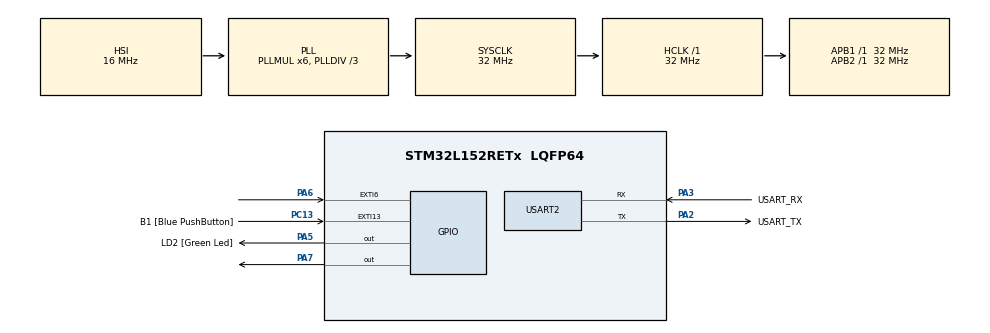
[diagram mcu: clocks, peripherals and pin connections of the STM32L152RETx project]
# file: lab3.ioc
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Mcu.Family=STM32L1
Mcu.Name=STM32L152RETx
Mcu.Package=LQFP64
NVIC.EXTI15_10_IRQn=true\:0\:0\:false\:false\:true\:true
NVIC.EXTI9_5_IRQn=true\:0\:0\:false\:false\:true\:true
NVIC.PriorityGroup=NVIC_PRIORITYGROUP_0
PA13.GPIO_Label=TMS
PA13.Mode=Serial_Wire
PA13.Signal=SYS_JTMS-SWDIO
PA14.GPIO_Label=TCK
PA14.Mode=Serial_Wire
PA14.Signal=SYS_JTCK-SWCLK
PA2.GPIO_Label=USART_TX
PA2.Mode=Asynchronous
PA2.Signal=USART2_TX
PA3.GPIO_Label=USART_RX
PA3.Mode=Asynchronous
PA3.Signal=USART2_RX
PA5.GPIO_Label=LD2 [Green Led]
PA5.Signal=GPIO_Output
PA6.GPIO_ModeDefaultEXTI=GPIO_MODE_IT_RISING_FALLING
PA6.Signal=GPXTI6
PA7.Signal=GPIO_Output
PB3.GPIO_Label=SWO
PB3.Signal=SYS_JTDO-TRACESWO
PC13-WKUP2.GPIO_Label=B1 [Blue PushButton]
PC13-WKUP2.GPIO_ModeDefaultEXTI=GPIO_MODE_IT_RISING_FALLING
PC13-WKUP2.Signal=GPXTI13
PC14-OSC32_IN.Mode=LSE-External-Oscillator
PC14-OSC32_IN.Signal=RCC_OSC32_IN
PC15-OSC32_OUT.Mode=LSE-External-Oscillator
PC15-OSC32_OUT.Signal=RCC_OSC32_OUT
PH0-OSC_IN.Mode=HSE-External-Clock-Source
PH0-OSC_IN.Signal=RCC_OSC_IN
PH1-OSC_OUT.Signal=RCC_OSC_OUT
ProjectManager.HeapSize=0x200
ProjectManager.StackSize=0x400
ProjectManager.TargetToolchain=TrueSTUDIO
RCC.48MHZClocksFreq_Value=48000000
RCC.AHBFreq_Value=32000000
RCC.APB1Freq_Value=32000000
RCC.APB1TimFreq_Value=32000000
RCC.APB2Freq_Value=32000000
RCC.APB2TimFreq_Value=32000000
RCC.HCLKFreq_Value=32000000
RCC.HSE_VALUE=8000000
RCC.HSI_VALUE=16000000
RCC.MSI_VALUE=2097000
RCC.PLLDIV=RCC_PLL_DIV3
RCC.PLLMUL=RCC_PLL_MUL6
RCC.RTCClockSelectionVirtual=RCC_RTCCLKSOURCE_LSE
RCC.SYSCLKFreq_VALUE=32000000
RCC.SYSCLKSource=RCC_SYSCLKSOURCE_PLLCLK
RCC.USBOutput=48000000
RCC.VCOOutputFreq_Value=96000000
TIM2.Period=65535
TIM2.Prescaler=64000
TIM5.Period=0xffff
TIM5.Prescaler=32
USART2.VirtualMode=VM_ASYNC
VP_TIM2_VS_ClockSourceINT.Mode=Internal
VP_TIM5_VS_ClockSourceINT.Mode=Internal
board=NUCLEO-L152RE

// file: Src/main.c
/**
 ******************************************************************************
 * @file           : main.c
 * @brief          : Main program body
 ******************************************************************************
 ** This notice applies to any and all portions of this file
 * that are not between comment pairs USER CODE BEGIN and
 * USER CODE END. Other portions of this file, whether
 * inserted by the user or by software development tools
 * are owned by their respective copyright owners.
 *
 * COPYRIGHT(c) 2018 STMicroelectronics
 *
 * Redistribution and use in source and binary forms, with or without modification,
 * are permitted provided that the following conditions are met:
 *   1. Redistributions of source code must retain the above copyright notice,
 *      this list of conditions and the following disclaimer.
 *   2. Redistributions in binary form must reproduce the above copyright notice,
 *      this list of conditions and the following disclaimer in the documentation
 *      and/or other materials provided with the distribution.
 *   3. Neither the name of STMicroelectronics nor the names of its contributors
 *      may be used to endorse or promote products derived from this software
 *      without specific prior written permission.
 *
 * THIS SOFTWARE IS PROVIDED BY THE COPYRIGHT HOLDERS AND CONTRIBUTORS "AS IS"
 * AND ANY EXPRESS OR IMPLIED WARRANTIES, INCLUDING, BUT NOT LIMITED TO, THE
 * IMPLIED WARRANTIES OF MERCHANTABILITY AND FITNESS FOR A PARTICULAR PURPOSE ARE
 * DISCLAIMED. IN NO EVENT SHALL THE COPYRIGHT HOLDER OR CONTRIBUTORS BE LIABLE
 * FOR ANY DIRECT, INDIRECT, INCIDENTAL, SPECIAL, EXEMPLARY, OR CONSEQUENTIAL
 * DAMAGES (INCLUDING, BUT NOT LIMITED TO, PROCUREMENT OF SUBSTITUTE GOODS OR
 * SERVICES; LOSS OF USE, DATA, OR PROFITS; OR BUSINESS INTERRUPTION) HOWEVER
 * CAUSED AND ON ANY THEORY OF LIABILITY, WHETHER IN CONTRACT, STRICT LIABILITY,
 * OR TORT (INCLUDING NEGLIGENCE OR OTHERWISE) ARISING IN ANY WAY OUT OF THE USE
 * OF THIS SOFTWARE, EVEN IF ADVISED OF THE POSSIBILITY OF SUCH DAMAGE.
 *
 ******************************************************************************
 */
#include "main.h"
#include "stm32l1xx_hal.h"
#include "stdio.h"
#include "string.h"
#include "math.h"

TIM_HandleTypeDef htim2;
TIM_HandleTypeDef htim5;

UART_HandleTypeDef huart2;

const uint32_t timeout = 1000;

extern uint32_t flag, ack;

/* USER CODE BEGIN PV */
/* Private variables ---------------------------------------------------------*/

/* USER CODE END PV */

void SystemClock_Config(void);
static void MX_GPIO_Init(void);
static void MX_USART2_UART_Init(void);
static void MX_TIM2_Init(void);
static void MX_TIM5_Init(void);
/* USER CODE BEGIN PFP */
/* Private function prototypes -----------------------------------------------*/

void delay_us(uint32_t);
void delay_ms(uint32_t);
/* USER CODE END PFP */

int main(void) {

	/* MCU Configuration----------------------------------------------------------*/

	/* Reset of all peripherals, Initializes the Flash interface and the Systick. */
	HAL_Init();

	/* Configure the system clock */
	SystemClock_Config();

	/* Initialize all configured peripherals */
	MX_GPIO_Init();
	MX_USART2_UART_Init();
	MX_TIM2_Init();
	MX_TIM5_Init();

	/* Infinite loop */
	/* USER CODE BEGIN WHILE */
	HAL_TIM_Base_Start(&htim2);
	HAL_TIM_Base_Start(&htim5);
	while (1) {
		flag = 1;
		ack = 1;
		HAL_GPIO_WritePin(GPIOA, GPIO_PIN_7, GPIO_PIN_SET);
		delay_us(10);
		HAL_GPIO_WritePin(GPIOA, GPIO_PIN_7, GPIO_PIN_RESET);
		while (ack) {
			delay_ms(timeout);
		}
		/* USER CODE END WHILE */

	}

}

void SystemClock_Config(void) {

	RCC_OscInitTypeDef RCC_OscInitStruct;
	RCC_ClkInitTypeDef RCC_ClkInitStruct;

	/**Configure the main internal regulator output voltage
	 */
	__HAL_PWR_VOLTAGESCALING_CONFIG(PWR_REGULATOR_VOLTAGE_SCALE1);

	/**Initializes the CPU, AHB and APB busses clocks
	 */
	RCC_OscInitStruct.OscillatorType = RCC_OSCILLATORTYPE_HSI;
	RCC_OscInitStruct.HSIState = RCC_HSI_ON;
	RCC_OscInitStruct.HSICalibrationValue = 16;
	RCC_OscInitStruct.PLL.PLLState = RCC_PLL_ON;
	RCC_OscInitStruct.PLL.PLLSource = RCC_PLLSOURCE_HSI;
	RCC_OscInitStruct.PLL.PLLMUL = RCC_PLL_MUL6;
	RCC_OscInitStruct.PLL.PLLDIV = RCC_PLL_DIV3;
	if (HAL_RCC_OscConfig(&RCC_OscInitStruct) != HAL_OK) {
		_Error_Handler(__FILE__, __LINE__);
	}

	/**Initializes the CPU, AHB and APB busses clocks
	 */
	RCC_ClkInitStruct.ClockType = RCC_CLOCKTYPE_HCLK | RCC_CLOCKTYPE_SYSCLK
			| RCC_CLOCKTYPE_PCLK1 | RCC_CLOCKTYPE_PCLK2;
	RCC_ClkInitStruct.SYSCLKSource = RCC_SYSCLKSOURCE_PLLCLK;
	RCC_ClkInitStruct.AHBCLKDivider = RCC_SYSCLK_DIV1;
	RCC_ClkInitStruct.APB1CLKDivider = RCC_HCLK_DIV1;
	RCC_ClkInitStruct.APB2CLKDivider = RCC_HCLK_DIV1;

	if (HAL_RCC_ClockConfig(&RCC_ClkInitStruct, FLASH_LATENCY_1) != HAL_OK) {
		_Error_Handler(__FILE__, __LINE__);
	}

	/**Configure the Systick interrupt time
	 */
	HAL_SYSTICK_Config(HAL_RCC_GetHCLKFreq() / 1000);

	/**Configure the Systick
	 */
	HAL_SYSTICK_CLKSourceConfig(SYSTICK_CLKSOURCE_HCLK);

	/* SysTick_IRQn interrupt configuration */
	HAL_NVIC_SetPriority(SysTick_IRQn, 0, 0);
}

/* TIM2 init function */
static void MX_TIM2_Init(void) {

	TIM_ClockConfigTypeDef sClockSourceConfig;
	TIM_MasterConfigTypeDef sMasterConfig;

	htim2.Instance = TIM2;
	htim2.Init.Prescaler = 64000;
	htim2.Init.CounterMode = TIM_COUNTERMODE_UP;
	htim2.Init.Period = 65535;
	htim2.Init.ClockDivision = TIM_CLOCKDIVISION_DIV1;
	if (HAL_TIM_Base_Init(&htim2) != HAL_OK) {
		_Error_Handler(__FILE__, __LINE__);
	}

	sClockSourceConfig.ClockSource = TIM_CLOCKSOURCE_INTERNAL;
	if (HAL_TIM_ConfigClockSource(&htim2, &sClockSourceConfig) != HAL_OK) {
		_Error_Handler(__FILE__, __LINE__);
	}

	sMasterConfig.MasterOutputTrigger = TIM_TRGO_RESET;
	sMasterConfig.MasterSlaveMode = TIM_MASTERSLAVEMODE_DISABLE;
	if (HAL_TIMEx_MasterConfigSynchronization(&htim2, &sMasterConfig)
			!= HAL_OK) {
		_Error_Handler(__FILE__, __LINE__);
	}

}

/* TIM5 init function */
static void MX_TIM5_Init(void) {

	TIM_ClockConfigTypeDef sClockSourceConfig;
	TIM_MasterConfigTypeDef sMasterConfig;

	htim5.Instance = TIM5;
	htim5.Init.Prescaler = 32;
	htim5.Init.CounterMode = TIM_COUNTERMODE_UP;
	htim5.Init.Period = 0xffff;
	htim5.Init.ClockDivision = TIM_CLOCKDIVISION_DIV1;
	if (HAL_TIM_Base_Init(&htim5) != HAL_OK) {
		_Error_Handler(__FILE__, __LINE__);
	}

	sClockSourceConfig.ClockSource = TIM_CLOCKSOURCE_INTERNAL;
	if (HAL_TIM_ConfigClockSource(&htim5, &sClockSourceConfig) != HAL_OK) {
		_Error_Handler(__FILE__, __LINE__);
	}

	sMasterConfig.MasterOutputTrigger = TIM_TRGO_RESET;
	sMasterConfig.MasterSlaveMode = TIM_MASTERSLAVEMODE_DISABLE;
	if (HAL_TIMEx_MasterConfigSynchronization(&htim5, &sMasterConfig)
			!= HAL_OK) {
		_Error_Handler(__FILE__, __LINE__);
	}

}

/* USART2 init function */
static void MX_USART2_UART_Init(void) {

	huart2.Instance = USART2;
	huart2.Init.BaudRate = 115200;
	huart2.Init.WordLength = UART_WORDLENGTH_8B;
	huart2.Init.StopBits = UART_STOPBITS_1;
	huart2.Init.Parity = UART_PARITY_NONE;
	huart2.Init.Mode = UART_MODE_TX_RX;
	huart2.Init.HwFlowCtl = UART_HWCONTROL_NONE;
	huart2.Init.OverSampling = UART_OVERSAMPLING_16;
	if (HAL_UART_Init(&huart2) != HAL_OK) {
		_Error_Handler(__FILE__, __LINE__);
	}

}

/** Configure pins as
 * Analog
 * Input
 * Output
 * EVENT_OUT
 * EXTI
 */
static void MX_GPIO_Init(void) {

	GPIO_InitTypeDef GPIO_InitStruct;

	/* GPIO Ports Clock Enable */
	__HAL_RCC_GPIOC_CLK_ENABLE()
	;
	__HAL_RCC_GPIOH_CLK_ENABLE()
	;
	__HAL_RCC_GPIOA_CLK_ENABLE()
	;
	__HAL_RCC_GPIOB_CLK_ENABLE()
	;

	/*Configure GPIO pin Output Level */
	HAL_GPIO_WritePin(GPIOA, LD2_Pin | GPIO_PIN_7, GPIO_PIN_RESET);

	/*Configure GPIO pin : B1_Pin */
	GPIO_InitStruct.Pin = B1_Pin;
	GPIO_InitStruct.Mode = GPIO_MODE_IT_RISING_FALLING;
	GPIO_InitStruct.Pull = GPIO_NOPULL;
	HAL_GPIO_Init(B1_GPIO_Port, &GPIO_InitStruct);

	/*Configure GPIO pins : LD2_Pin PA7 */
	GPIO_InitStruct.Pin = LD2_Pin | GPIO_PIN_7;
	GPIO_InitStruct.Mode = GPIO_MODE_OUTPUT_PP;
	GPIO_InitStruct.Pull = GPIO_NOPULL;
	GPIO_InitStruct.Speed = GPIO_SPEED_FREQ_LOW;
	HAL_GPIO_Init(GPIOA, &GPIO_InitStruct);

	/*Configure GPIO pin : PA6 */
	GPIO_InitStruct.Pin = GPIO_PIN_6;
	GPIO_InitStruct.Mode = GPIO_MODE_IT_RISING_FALLING;
	GPIO_InitStruct.Pull = GPIO_NOPULL;
	HAL_GPIO_Init(GPIOA, &GPIO_InitStruct);

	/* EXTI interrupt init*/
	HAL_NVIC_SetPriority(EXTI9_5_IRQn, 0, 0);
	HAL_NVIC_EnableIRQ(EXTI9_5_IRQn);

	HAL_NVIC_SetPriority(EXTI15_10_IRQn, 0, 0);
	HAL_NVIC_EnableIRQ(EXTI15_10_IRQn);

}

/* USER CODE BEGIN 4 */
void delay_us(uint32_t period) {
	__HAL_TIM_SET_COUNTER(&htim5, 0);
	while (__HAL_TIM_GET_COUNTER(&htim5) < period) {
	}
}

void delay_ms(uint32_t period) {
	uint32_t t = period / 2;
	__HAL_TIM_SET_COUNTER(&htim2, 0);
	while (__HAL_TIM_GET_COUNTER(&htim2) < t) {
	}
}
/* USER CODE END 4 */

void _Error_Handler(char *file, int line) {
	while (1) {
	}
}

/************************ (C) COPYRIGHT STMicroelectronics *****END OF FILE****/
